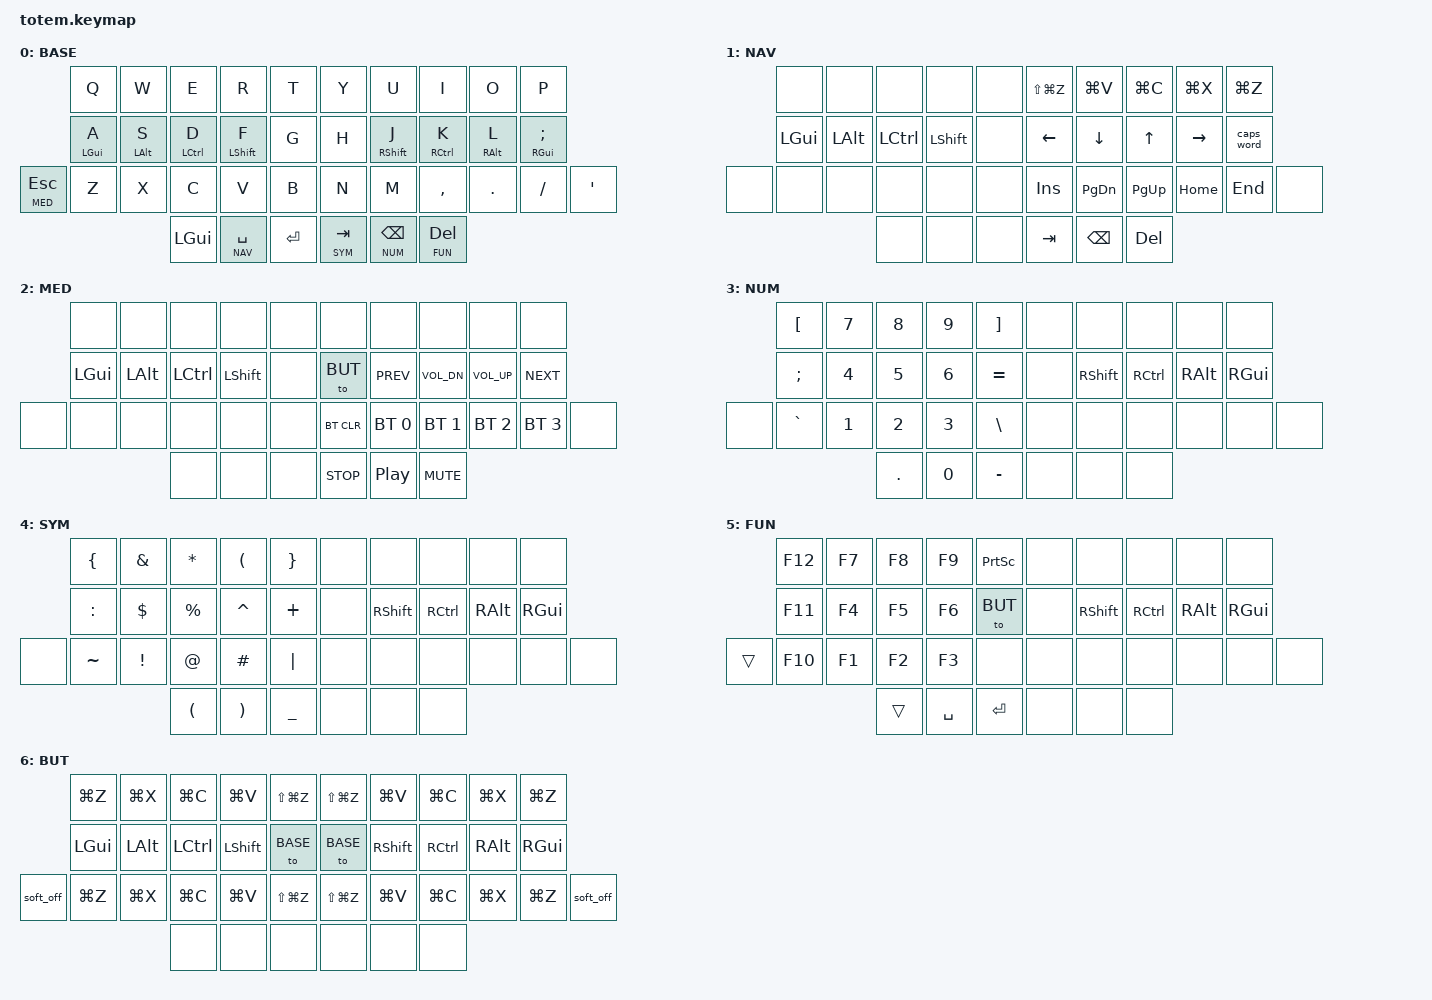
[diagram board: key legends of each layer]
#include <behaviors.dtsi>
#include <dt-bindings/zmk/keys.h>
#include <dt-bindings/zmk/bt.h>
#include <dt-bindings/zmk/outputs.h>

#define BASE 0
#define NAV  1
#define MED  2
#define NUM  3
#define SYM  4
#define FUN  5
#define BUT  6

&mt {
  quick-tap-ms = <100>;
  global-quick-tap;
  flavor = "tap-preferred";
  tapping-term-ms = <170>;
};

/ {
  keymap {
    compatible = "zmk,keymap";
      base_layer {
        label = "BASE";
        //             ┏━━━━━━━━━━━┳━━━━━━━━━━━┳━━━━━━━━━━━┳━━━━━━━━━━━┳━━━━━━━━━━━┓   ┏━━━━━━━━━━━┳━━━━━━━━━━━┳━━━━━━━━━━━┳━━━━━━━━━━━┳━━━━━━━━━━━┓
        //             ┃ Q         ┃ W         ┃ E         ┃ R         ┃ T         ┃   ┃ Y         ┃ U         ┃ I         ┃ O         ┃ P         ┃
        //             ┣━━━━━━━━━━━╋━━━━━━━━━━━╋━━━━━━━━━━━╋━━━━━━━━━━━╋━━━━━━━━━━━┫   ┣━━━━━━━━━━━╋━━━━━━━━━━━╋━━━━━━━━━━━╋━━━━━━━━━━━╋━━━━━━━━━━━┫
        //             ┃ A         ┃ S         ┃ D         ┃ F         ┃ G         ┃   ┃ H         ┃ J         ┃ K         ┃ L         ┃ ;         ┃
        // ┏━━━━━━━━━━━╋━━━━━━━━━━━╋━━━━━━━━━━━╋━━━━━━━━━━━╋━━━━━━━━━━━╋━━━━━━━━━━━┫   ┣━━━━━━━━━━━╋━━━━━━━━━━━╋━━━━━━━━━━━╋━━━━━━━━━━━╋━━━━━━━━━━━╋━━━━━━━━━━━┓
        // ┃ ESC       ┃ Z         ┃ X         ┃ C         ┃ V         ┃ B         ┃   ┃ N         ┃ M         ┃ ,         ┃ .         ┃ /         ┃ '         ┃
        // ┗━━━━━━━━━━━┻━━━━━━━━━━━┻━━━━━━━━━━━╋━━━━━━━━━━━╋━━━━━━━━━━━╋━━━━━━━━━━━┫   ┣━━━━━━━━━━━╋━━━━━━━━━━━╋━━━━━━━━━━━╋━━━━━━━━━━━┻━━━━━━━━━━━┻━━━━━━━━━━━┛
        //                                     ┃ LGUI      ┃ SPACE     ┃ ENTER     ┃   ┃ TAB       ┃ BSPC      ┃ DEL       ┃
        //                                     ┗━━━━━━━━━━━┻━━━━━━━━━━━┻━━━━━━━━━━━┛   ┗━━━━━━━━━━━┻━━━━━━━━━━━┻━━━━━━━━━━━┛
        bindings = <
        // ╷           ╷           ╷           ╷           ╷           ╷           ╷   ╷           ╷           ╷           ╷           ╷           ╷           ╷

                        &kp Q       &kp W       &kp E       &kp R       &kp T           &kp Y       &kp U       &kp I       &kp O       &kp P
                        &mt LGUI A  &mt LALT S  &mt LCTRL D &mt LSHFT F &kp G           &kp H       &mt RSHFT J &mt RCTRL K &mt RALT L  &mt RGUI SEMI
      &lt MED ESC       &kp Z       &kp X       &kp C       &kp V       &kp B           &kp N       &kp M       &kp COMMA   &kp DOT     &kp FSLH    &kp SQT
                                                   &kp LGUI &lt NAV SPACE &kp RET       &lt SYM TAB &lt NUM BSPC &lt FUN DEL
        >;
      };

      nav_layer {
        label = "NAV";
        //             ┏━━━━━━━━━━━┳━━━━━━━━━━━┳━━━━━━━━━━━┳━━━━━━━━━━━┳━━━━━━━━━━━┓   ┏━━━━━━━━━━━┳━━━━━━━━━━━┳━━━━━━━━━━━┳━━━━━━━━━━━┳━━━━━━━━━━━┓
        //             ┃           ┃           ┃           ┃           ┃           ┃   ┃ REDO      ┃ PASTE     ┃ COPY      ┃ CUT       ┃ UNDO      ┃
        //             ┣━━━━━━━━━━━╋━━━━━━━━━━━╋━━━━━━━━━━━╋━━━━━━━━━━━╋━━━━━━━━━━━┫   ┣━━━━━━━━━━━╋━━━━━━━━━━━╋━━━━━━━━━━━╋━━━━━━━━━━━╋━━━━━━━━━━━┫
        //             ┃ SUPER     ┃ ALT       ┃ CTRL      ┃ SHIFT     ┃           ┃   ┃ ←         ┃ ↓         ┃ ↑         ┃ →         ┃ CAPS WRD  ┃
        // ┏━━━━━━━━━━━╋━━━━━━━━━━━╋━━━━━━━━━━━╋━━━━━━━━━━━╋━━━━━━━━━━━╋━━━━━━━━━━━┫   ┣━━━━━━━━━━━╋━━━━━━━━━━━╋━━━━━━━━━━━╋━━━━━━━━━━━╋━━━━━━━━━━━╋━━━━━━━━━━━┓
        // ┃           ┃           ┃           ┃           ┃           ┃           ┃   ┃ INSERT    ┃ PG DOWN   ┃ PG UP     ┃ HOME      ┃ END       ┃           ┃
        // ┗━━━━━━━━━━━┻━━━━━━━━━━━┻━━━━━━━━━━━╋━━━━━━━━━━━╋━━━━━━━━━━━╋━━━━━━━━━━━┫   ┣━━━━━━━━━━━╋━━━━━━━━━━━╋━━━━━━━━━━━╋━━━━━━━━━━━┻━━━━━━━━━━━┻━━━━━━━━━━━┛
        //                                     ┃           ┃   🁢🁢🁢  ┃           ┃   ┃ TAB       ┃ BSPC      ┃ DEL       ┃
        //                                     ┗━━━━━━━━━━━┻━━━━━━━━━━━┻━━━━━━━━━━━┛   ┗━━━━━━━━━━━┻━━━━━━━━━━━┻━━━━━━━━━━━┛
        bindings = <
        // ╷           ╷           ╷           ╷           ╷           ╷           ╷   ╷           ╷           ╷           ╷           ╷           ╷           ╷

                        &none       &none       &none       &none       &none           &kp LS(LG(Z)) &kp LG(V) &kp LG(C)   &kp LG(X)   &kp LG(Z)
                        &kp LGUI    &kp LALT    &kp LCTRL   &kp LSHFT   &none           &kp LEFT    &kp DOWN    &kp UP      &kp RIGHT   &caps_word
            &none       &none       &none       &none       &none       &none           &kp INS     &kp PG_DN   &kp PG_UP   &kp HOME    &kp END     &none
                                                &none       &none       &none           &kp TAB     &kp BSPC    &kp DEL
        >;
      };

      med_layer {
        label = "MED";
        //             ┏━━━━━━━━━━━┳━━━━━━━━━━━┳━━━━━━━━━━━┳━━━━━━━━━━━┳━━━━━━━━━━━┓   ┏━━━━━━━━━━━┳━━━━━━━━━━━┳━━━━━━━━━━━┳━━━━━━━━━━━┳━━━━━━━━━━━┓
        //             ┃           ┃           ┃           ┃           ┃           ┃   ┃           ┃           ┃           ┃           ┃           ┃
        //             ┣━━━━━━━━━━━╋━━━━━━━━━━━╋━━━━━━━━━━━╋━━━━━━━━━━━╋━━━━━━━━━━━┫   ┣━━━━━━━━━━━╋━━━━━━━━━━━╋━━━━━━━━━━━╋━━━━━━━━━━━╋━━━━━━━━━━━┫
        //             ┃ SUPER     ┃ ALT       ┃ CTRL      ┃ SHIFT     ┃           ┃   ┃ BUT LAY   ┃ PREV      ┃ VOL-      ┃ VOL+      ┃ NEXT      ┃
        // ┏━━━━━━━━━━━╋━━━━━━━━━━━╋━━━━━━━━━━━╋━━━━━━━━━━━╋━━━━━━━━━━━╋━━━━━━━━━━━┫   ┣━━━━━━━━━━━╋━━━━━━━━━━━╋━━━━━━━━━━━╋━━━━━━━━━━━╋━━━━━━━━━━━╋━━━━━━━━━━━┓
        // ┃           ┃           ┃           ┃           ┃           ┃           ┃   ┃ BT CLEAR  ┃ BT 0      ┃ BT 1      ┃ BT 2      ┃ BT 3      ┃           ┃
        // ┗━━━━━━━━━━━┻━━━━━━━━━━━┻━━━━━━━━━━━╋━━━━━━━━━━━╋━━━━━━━━━━━╋━━━━━━━━━━━┫   ┣━━━━━━━━━━━╋━━━━━━━━━━━╋━━━━━━━━━━━╋━━━━━━━━━━━┻━━━━━━━━━━━┻━━━━━━━━━━━┛
        //                                     ┃   🁢🁢🁢  ┃           ┃           ┃   ┃ STOP      ┃ PLAY      ┃ MUTE      ┃
        //                                     ┗━━━━━━━━━━━┻━━━━━━━━━━━┻━━━━━━━━━━━┛   ┗━━━━━━━━━━━┻━━━━━━━━━━━┻━━━━━━━━━━━┛
        bindings = <
        // ╷           ╷           ╷           ╷           ╷           ╷           ╷   ╷           ╷           ╷           ╷           ╷           ╷           ╷

                        &none       &none       &none       &none       &none           &none       &none       &none       &none       &none
                        &kp LGUI    &kp LALT    &kp LCTRL   &kp LSHFT   &none           &to BUT     &kp C_PREV  &kp C_VOL_DN &kp C_VOL_UP &kp C_NEXT
            &none       &none       &none       &none       &none       &none           &bt BT_CLR  &bt BT_SEL 0 &bt BT_SEL 1 &bt BT_SEL 2 &bt BT_SEL 3 &none
                                                &none       &none       &none           &kp C_STOP  &kp C_PP    &kp C_MUTE
        >;
      };

      num_layer {
        label = "NUM";
        //             ┏━━━━━━━━━━━┳━━━━━━━━━━━┳━━━━━━━━━━━┳━━━━━━━━━━━┳━━━━━━━━━━━┓   ┏━━━━━━━━━━━┳━━━━━━━━━━━┳━━━━━━━━━━━┳━━━━━━━━━━━┳━━━━━━━━━━━┓
        //             ┃ [         ┃ 7         ┃ 8         ┃ 9         ┃ ]         ┃   ┃           ┃           ┃           ┃           ┃           ┃
        //             ┣━━━━━━━━━━━╋━━━━━━━━━━━╋━━━━━━━━━━━╋━━━━━━━━━━━╋━━━━━━━━━━━┫   ┣━━━━━━━━━━━╋━━━━━━━━━━━╋━━━━━━━━━━━╋━━━━━━━━━━━╋━━━━━━━━━━━┫
        //             ┃ ;         ┃ 4         ┃ 5         ┃ 6         ┃ =         ┃   ┃           ┃ SHIFT     ┃ CTRL      ┃ ALT       ┃ SUPER     ┃
        // ┏━━━━━━━━━━━╋━━━━━━━━━━━╋━━━━━━━━━━━╋━━━━━━━━━━━╋━━━━━━━━━━━╋━━━━━━━━━━━┫   ┣━━━━━━━━━━━╋━━━━━━━━━━━╋━━━━━━━━━━━╋━━━━━━━━━━━╋━━━━━━━━━━━╋━━━━━━━━━━━┓
        // ┃           ┃ `         ┃ 1         ┃ 2         ┃ 3         ┃ \         ┃   ┃           ┃           ┃           ┃           ┃           ┃           ┃
        // ┗━━━━━━━━━━━┻━━━━━━━━━━━┻━━━━━━━━━━━╋━━━━━━━━━━━╋━━━━━━━━━━━╋━━━━━━━━━━━┫   ┣━━━━━━━━━━━╋━━━━━━━━━━━╋━━━━━━━━━━━╋━━━━━━━━━━━┻━━━━━━━━━━━┻━━━━━━━━━━━┛
        //                                     ┃ .         ┃ 0         ┃ -         ┃   ┃           ┃   🁢🁢🁢  ┃           ┃
        //                                     ┗━━━━━━━━━━━┻━━━━━━━━━━━┻━━━━━━━━━━━┛   ┗━━━━━━━━━━━┻━━━━━━━━━━━┻━━━━━━━━━━━┛
        bindings = <
        // ╷           ╷           ╷           ╷           ╷           ╷           ╷   ╷           ╷           ╷           ╷           ╷           ╷           ╷

                        &kp LBKT    &kp N7      &kp N8      &kp N9      &kp RBKT        &none       &none       &none       &none       &none
                        &kp SEMI    &kp N4      &kp N5      &kp N6      &kp EQUAL       &none       &kp RSHFT   &kp RCTRL   &kp RALT    &kp RGUI
            &none       &kp GRAVE   &kp N1      &kp N2      &kp N3      &kp BSLH        &none       &none       &none       &none       &none       &none
                                                &kp DOT     &kp N0      &kp MINUS       &none       &none       &none
        >;
      };

      sym_layer {
        label = "SYM";
        //             ┏━━━━━━━━━━━┳━━━━━━━━━━━┳━━━━━━━━━━━┳━━━━━━━━━━━┳━━━━━━━━━━━┓   ┏━━━━━━━━━━━┳━━━━━━━━━━━┳━━━━━━━━━━━┳━━━━━━━━━━━┳━━━━━━━━━━━┓
        //             ┃ {         ┃ &         ┃ *         ┃ (         ┃ }         ┃   ┃           ┃           ┃           ┃           ┃           ┃
        //             ┣━━━━━━━━━━━╋━━━━━━━━━━━╋━━━━━━━━━━━╋━━━━━━━━━━━╋━━━━━━━━━━━┫   ┣━━━━━━━━━━━╋━━━━━━━━━━━╋━━━━━━━━━━━╋━━━━━━━━━━━╋━━━━━━━━━━━┫
        //             ┃ :         ┃ $         ┃ %         ┃ ^         ┃ +         ┃   ┃           ┃ SHIFT     ┃ CTRL      ┃ ALT       ┃ SUPER     ┃
        // ┏━━━━━━━━━━━╋━━━━━━━━━━━╋━━━━━━━━━━━╋━━━━━━━━━━━╋━━━━━━━━━━━╋━━━━━━━━━━━┫   ┣━━━━━━━━━━━╋━━━━━━━━━━━╋━━━━━━━━━━━╋━━━━━━━━━━━╋━━━━━━━━━━━╋━━━━━━━━━━━┓
        // ┃           ┃ ~         ┃ !         ┃ @         ┃ #         ┃ |         ┃   ┃           ┃           ┃           ┃           ┃           ┃           ┃
        // ┗━━━━━━━━━━━┻━━━━━━━━━━━┻━━━━━━━━━━━╋━━━━━━━━━━━╋━━━━━━━━━━━╋━━━━━━━━━━━┫   ┣━━━━━━━━━━━╋━━━━━━━━━━━╋━━━━━━━━━━━╋━━━━━━━━━━━┻━━━━━━━━━━━┻━━━━━━━━━━━┛
        //                                     ┃ (         ┃ )         ┃ _         ┃   ┃   🁢🁢🁢  ┃           ┃           ┃
        //                                     ┗━━━━━━━━━━━┻━━━━━━━━━━━┻━━━━━━━━━━━┛   ┗━━━━━━━━━━━┻━━━━━━━━━━━┻━━━━━━━━━━━┛
        bindings = <
        // ╷           ╷           ╷           ╷           ╷           ╷           ╷   ╷           ╷           ╷           ╷           ╷           ╷           ╷

                        &kp LBRC    &kp AMPS    &kp STAR    &kp LPAR    &kp RBRC        &none       &none       &none       &none       &none
                        &kp COLON   &kp DLLR    &kp PRCNT   &kp CARET   &kp PLUS        &none       &kp RSHFT   &kp RCTRL   &kp RALT    &kp RGUI
            &none       &kp TILDE   &kp EXCL    &kp AT      &kp HASH    &kp PIPE        &none       &none       &none       &none       &none       &none
                                                &kp LPAR    &kp RPAR    &kp UNDER       &none       &none       &none
        >;
      };

      fun_layer {
        label = "FUN";
        //             ┏━━━━━━━━━━━┳━━━━━━━━━━━┳━━━━━━━━━━━┳━━━━━━━━━━━┳━━━━━━━━━━━┓   ┏━━━━━━━━━━━┳━━━━━━━━━━━┳━━━━━━━━━━━┳━━━━━━━━━━━┳━━━━━━━━━━━┓
        //             ┃ F12       ┃ F7        ┃ F8        ┃ F9        ┃ PRNT SCRN ┃   ┃           ┃           ┃           ┃           ┃           ┃
        //             ┣━━━━━━━━━━━╋━━━━━━━━━━━╋━━━━━━━━━━━╋━━━━━━━━━━━╋━━━━━━━━━━━┫   ┣━━━━━━━━━━━╋━━━━━━━━━━━╋━━━━━━━━━━━╋━━━━━━━━━━━╋━━━━━━━━━━━┫
        //             ┃ F11       ┃ F4        ┃ F5        ┃ F6        ┃ BUT LAY   ┃   ┃           ┃ SHIFT     ┃ CTRL      ┃ ALT       ┃ SUPER     ┃
        // ┏━━━━━━━━━━━╋━━━━━━━━━━━╋━━━━━━━━━━━╋━━━━━━━━━━━╋━━━━━━━━━━━╋━━━━━━━━━━━┫   ┣━━━━━━━━━━━╋━━━━━━━━━━━╋━━━━━━━━━━━╋━━━━━━━━━━━╋━━━━━━━━━━━╋━━━━━━━━━━━┓
        // ┃           ┃ F10       ┃ F1        ┃ F2        ┃ F3        ┃           ┃   ┃           ┃           ┃           ┃           ┃           ┃           ┃
        // ┗━━━━━━━━━━━┻━━━━━━━━━━━┻━━━━━━━━━━━╋━━━━━━━━━━━╋━━━━━━━━━━━╋━━━━━━━━━━━┫   ┣━━━━━━━━━━━╋━━━━━━━━━━━╋━━━━━━━━━━━╋━━━━━━━━━━━┻━━━━━━━━━━━┻━━━━━━━━━━━┛
        //                                     ┃           ┃ SPACE     ┃ ENTER     ┃   ┃           ┃           ┃   🁢🁢🁢  ┃
        //                                     ┗━━━━━━━━━━━┻━━━━━━━━━━━┻━━━━━━━━━━━┛   ┗━━━━━━━━━━━┻━━━━━━━━━━━┻━━━━━━━━━━━┛
        bindings = <
        // ╷           ╷           ╷           ╷           ╷           ╷           ╷   ╷           ╷           ╷           ╷           ╷           ╷           ╷

                        &kp F12     &kp F7      &kp F8      &kp F9      &kp PSCRN       &none       &none       &none       &none       &none
                        &kp F11     &kp F4      &kp F5      &kp F6      &to BUT         &none       &kp RSHFT   &kp RCTRL   &kp RALT    &kp RGUI
            &trans      &kp F10     &kp F1      &kp F2      &kp F3      &none           &none       &none       &none       &none       &none       &none
                                                &trans      &kp SPACE   &kp RET         &none       &none       &none
        >;
      };

      but_layer {
        label = "BUT";
        //             ┏━━━━━━━━━━━┳━━━━━━━━━━━┳━━━━━━━━━━━┳━━━━━━━━━━━┳━━━━━━━━━━━┓   ┏━━━━━━━━━━━┳━━━━━━━━━━━┳━━━━━━━━━━━┳━━━━━━━━━━━┳━━━━━━━━━━━┓
        //             ┃ UNDO      ┃ CUT       ┃ COPY      ┃ PASTE     ┃ REDO      ┃   ┃ REDO      ┃ PASTE     ┃ COPY      ┃ CUT       ┃ UNDO      ┃
        //             ┣━━━━━━━━━━━╋━━━━━━━━━━━╋━━━━━━━━━━━╋━━━━━━━━━━━╋━━━━━━━━━━━┫   ┣━━━━━━━━━━━╋━━━━━━━━━━━╋━━━━━━━━━━━╋━━━━━━━━━━━╋━━━━━━━━━━━┫
        //             ┃ SUPER     ┃ ALT       ┃ CTRL      ┃ SHIFT     ┃ BASE LAY  ┃   ┃ BASE LAY  ┃ SHIFT     ┃ CTRL      ┃ ALT       ┃ SUPER     ┃
        // ┏━━━━━━━━━━━╋━━━━━━━━━━━╋━━━━━━━━━━━╋━━━━━━━━━━━╋━━━━━━━━━━━╋━━━━━━━━━━━┫   ┣━━━━━━━━━━━╋━━━━━━━━━━━╋━━━━━━━━━━━╋━━━━━━━━━━━╋━━━━━━━━━━━╋━━━━━━━━━━━┓
        // ┃ SOFT OFF  ┃ UNDO      ┃ CUT       ┃ COPY      ┃ PASTE     ┃ REDO      ┃   ┃ REDO      ┃ PASTE     ┃ COPY      ┃ CUT       ┃ UNDO      ┃ SOFT OFF  ┃
        // ┗━━━━━━━━━━━┻━━━━━━━━━━━┻━━━━━━━━━━━╋━━━━━━━━━━━╋━━━━━━━━━━━╋━━━━━━━━━━━┫   ┣━━━━━━━━━━━╋━━━━━━━━━━━╋━━━━━━━━━━━╋━━━━━━━━━━━┻━━━━━━━━━━━┻━━━━━━━━━━━┛
        //                                     ┃           ┃           ┃           ┃   ┃           ┃           ┃           ┃
        //                                     ┗━━━━━━━━━━━┻━━━━━━━━━━━┻━━━━━━━━━━━┛   ┗━━━━━━━━━━━┻━━━━━━━━━━━┻━━━━━━━━━━━┛
        bindings = <
        // ╷           ╷           ╷           ╷           ╷           ╷           ╷   ╷           ╷           ╷           ╷           ╷           ╷           ╷

                        &kp LG(Z)   &kp LG(X)   &kp LG(C)   &kp LG(V)   &kp LS(LG(Z))   &kp LS(LG(Z)) &kp LG(V) &kp LG(C)   &kp LG(X)   &kp LG(Z)
                        &kp LGUI    &kp LALT    &kp LCTRL   &kp LSHFT   &to BASE        &to BASE      &kp RSHFT   &kp RCTRL   &kp RALT    &kp RGUI
            &soft_off   &kp LG(Z)   &kp LG(X)   &kp LG(C)   &kp LG(V)   &kp LS(LG(Z))   &kp LS(LG(Z)) &kp LG(V) &kp LG(C)   &kp LG(X)   &kp LG(Z)   &soft_off
                                                &none       &none       &none           &none         &none     &none
        >;
      };
    };
};
